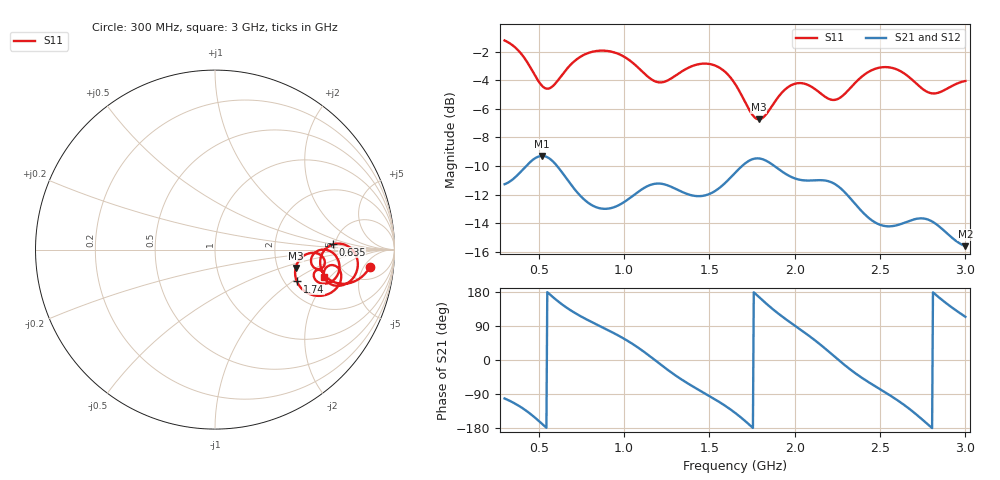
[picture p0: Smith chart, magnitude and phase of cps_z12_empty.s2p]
! cps_z12_empty
! simulated by sim/fixtures_fdtd.py (S12 = S21, S22 not computed)
# HZ S RI R 50
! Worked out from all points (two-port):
!   541 points, 300 MHz to 3 GHz, reference 50 ohm
!   highest |S21| = -9.29 dB at 520 MHz (marker M1); lowest = -15.6 dB at 3 GHz (marker M2)
!   |S21| within 3 dB of the highest: start of sweep to 761.7 MHz; 1.028 GHz to 2.328 GHz (1.3 GHz wide, 77.5 % of centre)
!   lowest |S11| = -6.7 dB at 1.79 GHz (marker M3), VSWR 2.71, Z = 126 - j32.4 ohm
!   |S11| at or under -10 dB: nowhere
!   |S22| runs from - to - dB; largest |S21 - S12| = 0
!   S11 on the Smith chart (normalised r, x): 300 MHz: 9, -7; 635 MHz: 4.77, +0.48; 1.74 GHz: 2.32, -1.09; 3 GHz: 3.43, -1.73
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3e8  0.8636 -0.0967  -0.0546 -0.2677  -0.0546 -0.2677  0 0
4.25e8  0.7162 -0.1907  -0.2166 -0.2296  -0.2166 -0.2296  0 0
5.2e8  0.5925 -0.1097  -0.3365 -0.067  -0.3365 -0.067  0 0
6.35e8  0.656 0.0285  -0.2534 0.163  -0.2534 0.163  0 0
7.5e8  0.7656 -0.00135  -0.1019 0.2247  -0.1019 0.2247  0 0
8.85e8  0.793 -0.1078  0.0253 0.2226  0.0253 0.2226  0 0
1.025e9  0.7198 -0.1956  0.1576 0.1839  0.1576 0.1839  0 0
1.2e9  0.6064 -0.1327  0.2727 -0.0333  0.2727 -0.0333  0 0
1.4e9  0.6974 -0.1187  0.0894 -0.233  0.0894 -0.233  0 0
1.525e9  0.6816 -0.2094  -0.0524 -0.2515  -0.0524 -0.2515  0 0
1.65e9  0.5572 -0.256  -0.2265 -0.1954  -0.2265 -0.1954  0 0
1.74e9  0.4563 -0.1776  -0.3294 -0.0396  -0.3294 -0.0396  0 0
1.79e9  0.4491 -0.1018  -0.3266 0.0797  -0.3266 0.0797  0 0
1.925e9  0.5707 -0.0218  -0.1289 0.274  -0.1289 0.274  0 0
2.1e9  0.5881 -0.1071  0.1476 0.2398  0.1476 0.2398  0 0
2.26e9  0.5445 -0.0309  0.267 -0.00537  0.267 -0.00537  0 0
2.38e9  0.6394 -0.00776  0.1641 -0.1523  0.1641 -0.1523  0 0
2.55e9  0.6885 -0.1274  -0.00337 -0.1946  -0.00337 -0.1946  0 0
2.67e9  0.6187 -0.1894  -0.1261 -0.1594  -0.1261 -0.1594  0 0
2.78e9  0.5519 -0.1541  -0.2024 -0.0363  -0.2024 -0.0363  0 0
2.885e9  0.5751 -0.1128  -0.162 0.0907  -0.162 0.0907  0 0
3e9  0.6082 -0.1527  -0.0674 0.1516  -0.0674 0.1516  0 0
